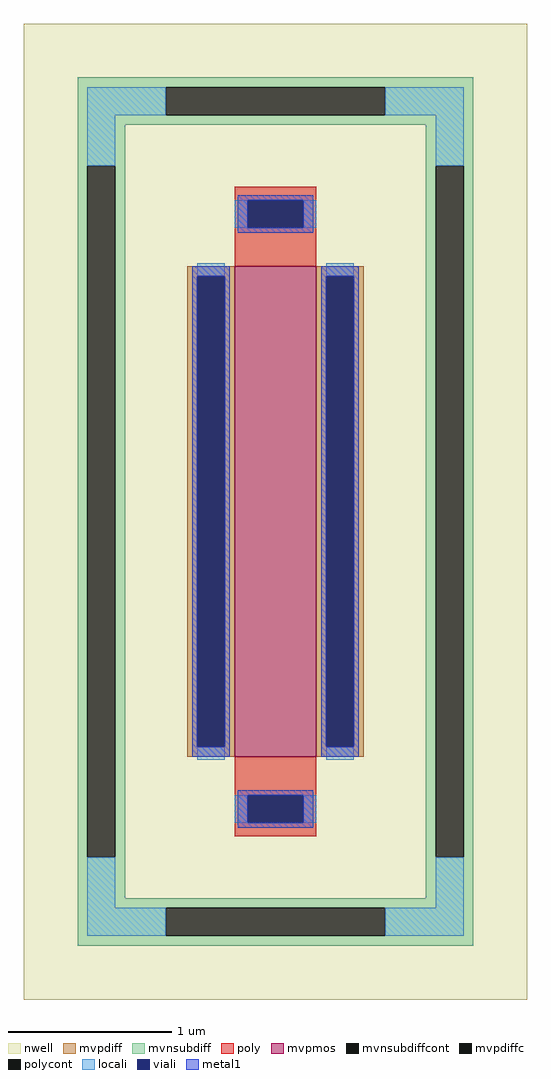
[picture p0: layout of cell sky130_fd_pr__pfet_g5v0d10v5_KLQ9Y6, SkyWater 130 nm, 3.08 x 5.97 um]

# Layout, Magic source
magic
tech sky130A
magscale 1 2
<< nwell >>
rect -308 -597 308 597
<< mvpmos >>
rect -50 -300 50 300
<< mvpdiff >>
rect -108 288 -50 300
rect -108 -288 -96 288
rect -62 -288 -50 288
rect -108 -300 -50 -288
rect 50 288 108 300
rect 50 -288 62 288
rect 96 -288 108 288
rect 50 -300 108 -288
<< mvpdiffc >>
rect -96 -288 -62 288
rect 62 -288 96 288
<< mvnsubdiff >>
rect -242 519 242 531
rect -242 485 -134 519
rect 134 485 242 519
rect -242 473 242 485
rect -242 423 -184 473
rect -242 -423 -230 423
rect -196 -423 -184 423
rect 184 423 242 473
rect -242 -473 -184 -423
rect 184 -423 196 423
rect 230 -423 242 423
rect 184 -473 242 -423
rect -242 -485 242 -473
rect -242 -519 -134 -485
rect 134 -519 242 -485
rect -242 -531 242 -519
<< mvnsubdiffcont >>
rect -134 485 134 519
rect -230 -423 -196 423
rect 196 -423 230 423
rect -134 -519 134 -485
<< poly >>
rect -50 381 50 397
rect -50 347 -34 381
rect 34 347 50 381
rect -50 300 50 347
rect -50 -347 50 -300
rect -50 -381 -34 -347
rect 34 -381 50 -347
rect -50 -397 50 -381
<< polycont >>
rect -34 347 34 381
rect -34 -381 34 -347
<< locali >>
rect -230 485 -134 519
rect 134 485 230 519
rect -230 423 -196 485
rect 196 423 230 485
rect -50 347 -34 381
rect 34 347 50 381
rect -96 288 -62 304
rect -96 -304 -62 -288
rect 62 288 96 304
rect 62 -304 96 -288
rect -50 -381 -34 -347
rect 34 -381 50 -347
rect -230 -485 -196 -423
rect 196 -485 230 -423
rect -230 -519 -134 -485
rect 134 -519 230 -485
<< viali >>
rect -34 347 34 381
rect -96 -288 -62 288
rect 62 -288 96 288
rect -34 -381 34 -347
<< metal1 >>
rect -46 381 46 387
rect -46 347 -34 381
rect 34 347 46 381
rect -46 341 46 347
rect -102 288 -56 300
rect -102 -288 -96 288
rect -62 -288 -56 288
rect -102 -300 -56 -288
rect 56 288 102 300
rect 56 -288 62 288
rect 96 -288 102 288
rect 56 -300 102 -288
rect -46 -347 46 -341
rect -46 -381 -34 -347
rect 34 -381 46 -347
rect -46 -387 46 -381
<< properties >>
string FIXED_BBOX -213 -502 213 502
string gencell sky130_fd_pr__pfet_g5v0d10v5
string library sky130
string parameters w 3.0 l 0.5 m 1 nf 1 diffcov 100 polycov 100 guard 1 glc 1 grc 1 gtc 1 gbc 1 tbcov 100 rlcov 100 topc 1 botc 1 poverlap 0 doverlap 1 lmin 0.50 wmin 0.42 compatible {sky130_fd_pr__pfet_01v8  sky130_fd_pr__pfet_01v8_lvt sky130_fd_pr__pfet_01v8_hvt  sky130_fd_pr__pfet_g5v0d10v5} full_metal 1 viasrc 100 viadrn 100 viagate 100 viagb 0 viagr 0 viagl 0 viagt 0
<< end >>
